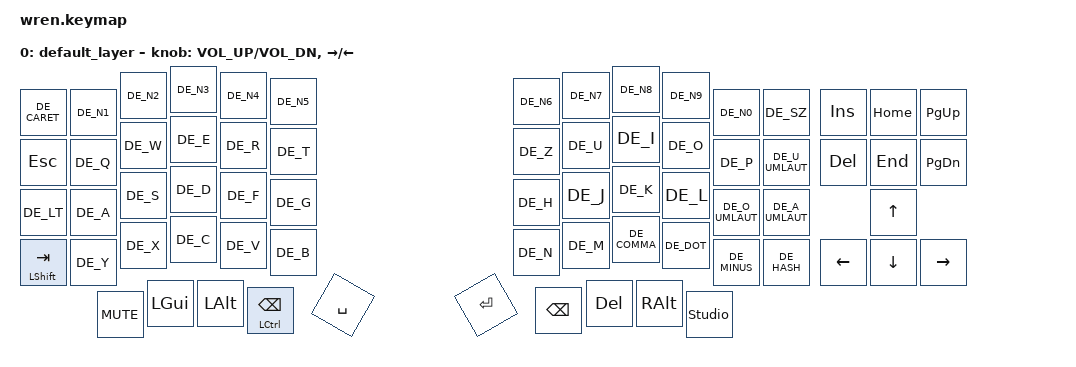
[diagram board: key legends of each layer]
#include <behaviors.dtsi>
#include <dt-bindings/zmk/keys.h>
#include <locale/keys_de.h>

/ {
    keymap {
        compatible = "zmk,keymap";

        default_layer {
// ----------------------------------------------------------------------------------------------------------------------------
// |  ^   |  1   |  2   |  3   |  4  |  5  |                   |  6   |  7   |  8   |  9   |  0   |  ß  |  INS  |  HOME | PUP |
// |  ESC |  Q   |  W   |  E   |  R  |  T  |                   |  Z   |  U   |  I   |  O   |  P   |  Ü  |  DEL  |  END  | PDWN|
// | SHFT |  A   |  S   |  D   |  F  |  G  |                   |  H   |  J   |  K   |  L   |  Ö   |  Ä  |       |  UP   |     |
// |  <>  |  Y   |  X   |  C   |  V  |  B  |                   |  N   |  M   |  ,   |  .   |  -   |  #  |  LFT  |  DWN  | RGT |
//               |  ?   | ALT  |LCTRL| BKSP| ENTER |   | SPACE | DEL  |  OS  | ALT  |  ?  |
        
            bindings = <
   &kp DE_CARET   &kp DE_N1   &kp DE_N2   &kp DE_N3   &kp DE_N4   &kp DE_N5                                 &kp DE_N6   &kp DE_N7    &kp DE_N8    &kp DE_N9   &kp DE_N0         &kp DE_SZ         &kp INS  &kp HOME &kp PG_UP
   &kp ESC        &kp DE_Q    &kp DE_W    &kp DE_E    &kp DE_R    &kp DE_T                                  &kp DE_Z    &kp DE_U     &kp DE_I     &kp DE_O    &kp DE_P          &kp DE_U_UMLAUT   &kp DEL  &kp END  &kp PG_DN
   &kp DE_LT      &kp DE_A    &kp DE_S    &kp DE_D    &kp DE_F    &kp DE_G                                  &kp DE_H    &kp DE_J     &kp DE_K     &kp DE_L    &kp DE_O_UMLAUT   &kp DE_A_UMLAUT            &kp UP  
   &mt LSHFT TAB  &kp DE_Y    &kp DE_X    &kp DE_C    &kp DE_V    &kp DE_B                                  &kp DE_N    &kp DE_M     &kp DE_COMMA &kp DE_DOT  &kp DE_MINUS      &kp DE_HASH         &kp LEFT  &kp DOWN &kp RIGHT
                              &kp C_MUTE  &kp LGUI    &kp LALT    &mt LCTRL BSPC  &kp SPACE     &kp ENTER   &kp BSPC    &kp DEL      &kp RALT     &studio_unlock
            >;

            sensor-bindings = <&inc_dec_kp C_VOL_UP C_VOL_DN &inc_dec_kp RIGHT LEFT>;
        };
    };
 };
